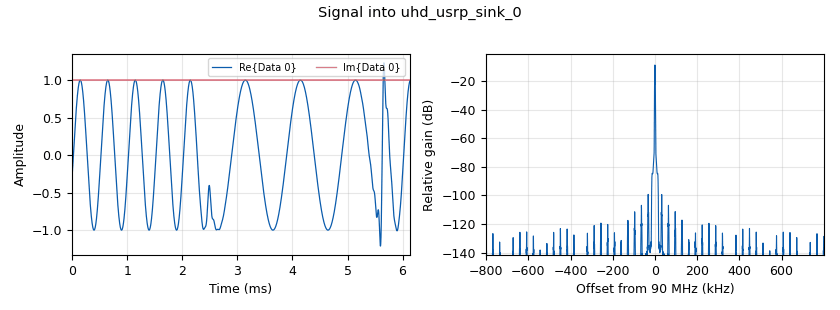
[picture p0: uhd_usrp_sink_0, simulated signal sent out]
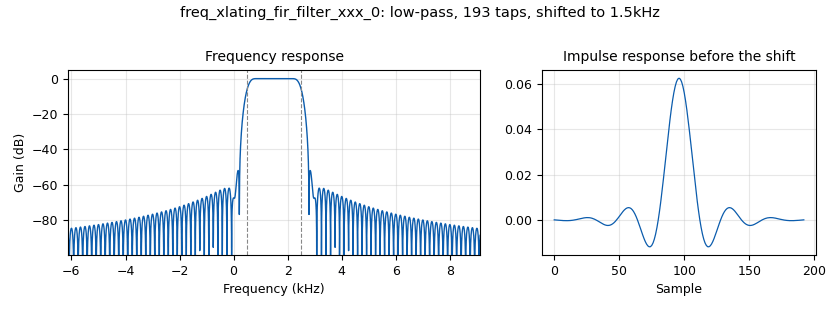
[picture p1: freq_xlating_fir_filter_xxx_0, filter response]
options:
  parameters:
    author: Camila Vinza
    copyright: '@CamiVinza'
    generate_options: qt_gui
    id: FSK_USRP
    output_language: python
    title: FSK_Modulation
  states: {}

blocks:
- name: delay
  id: variable_qtgui_range
  parameters:
    label: Retardo
    start: '0'
    step: '1'
    stop: '250'
    value: '126'
  states: {}
- name: freq_rds
  id: variable
  parameters:
    value: 90e6
  states: {}
- name: fsk_deviation
  id: variable
  parameters:
    value: '500'
  states: {}
- name: gaintx
  id: variable_qtgui_range
  parameters:
    label: GananciaRx
    start: '1'
    step: '1'
    stop: '100'
    value: '80'
  states: {}
- name: interpolation
  id: variable
  parameters:
    comment: Interpolation
    value: '50'
  states: {}
- name: rb
  id: variable
  parameters:
    value: '32000'
  states: {}
- name: samp_rate_RDS
  id: variable
  parameters:
    value: rb*interpolation
  states: {}
- name: analog_const_source_x_0
  id: analog_const_source_x
  parameters:
    const: '1'
    type: float
  states: {}
- name: analog_const_source_x_1
  id: analog_const_source_x
  parameters:
    const: '1'
    type: float
  states: {}
- name: analog_quadrature_demod_cf_1
  id: analog_quadrature_demod_cf
  parameters:
    gain: rb/(2*math.pi*fsk_deviation)
  states: {}
- name: analog_random_source_x_0
  id: analog_random_source_x
  parameters:
    max: '2'
    min: '0'
    num_samps: int(1e3)
    repeat: 'True'
    type: byte
  states: {}
- name: blocks_add_xx_0
  id: blocks_add_xx
  parameters:
    comment: FIN MODULACIÓN
    type: float
  states: {}
- name: blocks_char_to_float_0
  id: blocks_char_to_float
  parameters:
    scale: '1'
  states: {}
- name: blocks_char_to_float_1
  id: blocks_char_to_float
  parameters:
    scale: '1'
  states: {}
- name: blocks_delay_0
  id: blocks_delay
  parameters:
    delay: int(delay)
    type: float
  states: {}
- name: blocks_float_to_complex_0
  id: blocks_float_to_complex
  parameters: {}
  states: {}
- name: blocks_repeat_0
  id: blocks_repeat
  parameters:
    interp: '100'
    type: byte
  states: {}
- name: blocks_sub_xx_0
  id: blocks_sub_xx
  parameters:
    comment: Inversor de la Señal
    type: float
  states: {}
- name: digital_binary_slicer_fb_0
  id: digital_binary_slicer_fb
  parameters: {}
  states: {}
- name: freq_xlating_fir_filter_xxx_0
  id: freq_xlating_fir_filter_xxx
  parameters:
    center_freq: int(1.5e3)
    decim: '1'
    samp_rate: rb
    taps: ' firdes.low_pass(1,rb,1000, 400)'
    type: ccf
  states: {}
- name: import_0
  id: import
  parameters:
    imports: import numpy as np
  states: {}
- name: import_0_0
  id: import
  parameters:
    imports: import math
  states: {}
- name: multiply1
  id: blocks_multiply_xx
  parameters:
    type: float
  states: {}
- name: multiply2
  id: blocks_multiply_xx
  parameters:
    type: float
  states: {}
- name: primera_portadora
  id: analog_sig_source_x
  parameters:
    amp: '1'
    comment: 'PORTADORA 1: 2Khz'
    freq: int(2e3)
    offset: '0'
    phase: '0'
    samp_rate: rb
    type: float
    waveform: analog.GR_COS_WAVE
  states: {}
- name: qtgui_time_sink_x_0
  id: qtgui_time_sink_x
  parameters:
    autoscale: 'True'
    ctrlpanel: 'True'
    label1: Señal de Bits Original
    label2: Señal Modulada
    label3: Señal de Bits Demodulada
    nconnections: '3'
    size: '512'
    srate: rb
    type: float
    update_time: '0.50'
  states: {}
- name: rational_resampler_xxx_0
  id: rational_resampler_xxx
  parameters:
    decim: '1'
    interp: interpolation
    type: ccc
  states: {}
- name: rational_resampler_xxx_0_0
  id: rational_resampler_xxx
  parameters:
    decim: interpolation
    interp: '1'
    type: ccc
  states: {}
- name: segunda_portadora
  id: analog_sig_source_x
  parameters:
    amp: '1'
    comment: 'PORTADORA 2: 1Khz'
    freq: int(1e3)
    offset: '0'
    phase: '0'
    samp_rate: rb
    type: float
    waveform: analog.GR_COS_WAVE
  states: {}
- name: uhd_usrp_sink_0
  id: uhd_usrp_sink
  parameters:
    ant0: '"TX/RX"'
    bw0: 200e3
    center_freq0: freq_rds
    comment: Transmisor USRP
    dev_addr: '"serial=30875AE"'
    gain0: gaintx
    samp_rate: samp_rate_RDS
    sync: sync
    type: fc32
  states: {}
- name: uhd_usrp_source_0
  id: uhd_usrp_source
  parameters:
    ant0: '"RX2"'
    bw0: 200e3
    center_freq0: freq_rds
    comment: Receptor USRP
    dev_addr: '"serial=30875AE"'
    gain0: gaintx
    samp_rate: samp_rate_RDS
    sync: pc_clock_next_pps
    type: fc32
  states: {}
- name: virtual_sink_0
  id: virtual_sink
  parameters:
    stream_id: tag1
  states: {}
- name: virtual_sink_0_0
  id: virtual_sink
  parameters:
    stream_id: tag2
  states: {}
- name: virtual_sink_1
  id: virtual_sink
  parameters:
    comment: Señal Ddemodulada
    stream_id: fsk_demodulada
  states: {}
- name: virtual_sink_2
  id: virtual_sink
  parameters:
    stream_id: fsk_modulada
  states: {}
- name: virtual_source_0
  id: virtual_source
  parameters:
    stream_id: tag1
  states: {}
- name: virtual_source_0_0
  id: virtual_source
  parameters:
    stream_id: tag2
  states: {}
- name: virtual_source_2
  id: virtual_source
  parameters:
    stream_id: fsk_demodulada
  states: {}

connections:
- [analog_const_source_x_0, '0', blocks_sub_xx_0, '1']
- [analog_const_source_x_1, '0', blocks_float_to_complex_0, '1']
- [analog_quadrature_demod_cf_1, '0', digital_binary_slicer_fb_0, '0']
- [analog_random_source_x_0, '0', blocks_repeat_0, '0']
- [blocks_add_xx_0, '0', blocks_float_to_complex_0, '0']
- [blocks_add_xx_0, '0', qtgui_time_sink_x_0, '1']
- [blocks_add_xx_0, '0', virtual_sink_2, '0']
- [blocks_char_to_float_0, '0', blocks_sub_xx_0, '0']
- [blocks_char_to_float_0, '0', virtual_sink_0, '0']
- [blocks_char_to_float_1, '0', virtual_sink_1, '0']
- [blocks_delay_0, '0', qtgui_time_sink_x_0, '0']
- [blocks_float_to_complex_0, '0', rational_resampler_xxx_0, '0']
- [blocks_repeat_0, '0', blocks_char_to_float_0, '0']
- [blocks_sub_xx_0, '0', virtual_sink_0_0, '0']
- [digital_binary_slicer_fb_0, '0', blocks_char_to_float_1, '0']
- [freq_xlating_fir_filter_xxx_0, '0', analog_quadrature_demod_cf_1, '0']
- [multiply1, '0', blocks_add_xx_0, '0']
- [multiply2, '0', blocks_add_xx_0, '1']
- [primera_portadora, '0', multiply1, '1']
- [rational_resampler_xxx_0, '0', uhd_usrp_sink_0, '0']
- [rational_resampler_xxx_0_0, '0', freq_xlating_fir_filter_xxx_0, '0']
- [segunda_portadora, '0', multiply2, '1']
- [uhd_usrp_source_0, '0', rational_resampler_xxx_0_0, '0']
- [virtual_source_0, '0', blocks_delay_0, '0']
- [virtual_source_0, '0', multiply1, '0']
- [virtual_source_0_0, '0', multiply2, '0']
- [virtual_source_2, '0', qtgui_time_sink_x_0, '2']

metadata:
  file_format: 1
  grc_version: 3.10.8.0
